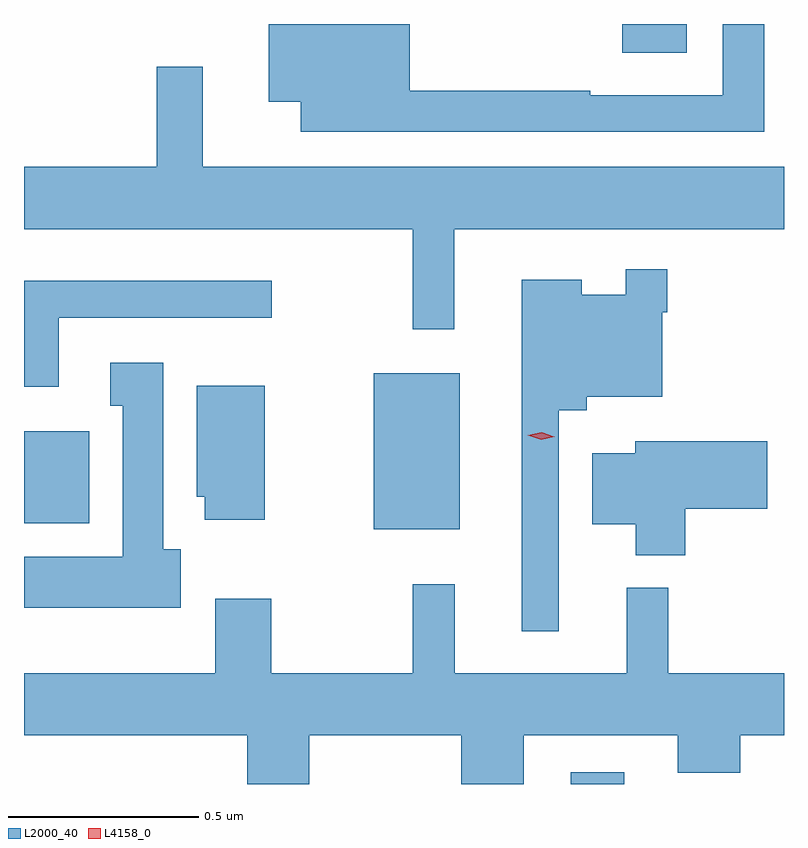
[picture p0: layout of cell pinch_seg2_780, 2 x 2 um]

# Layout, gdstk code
import gdstk
lib = gdstk.Library(unit=1e-6, precision=1e-09)
def R(c, l, rs):  # rectangles x0, y0, x1, y1
    for r in rs: c.add(gdstk.rectangle(r[:2], r[2:], *l))
def P(c, l, *ps):  # polygons
    for p in ps: c.add(gdstk.Polygon(p, *l))
L2000_40 = (2000, 40)
L4158_0 = (4158, 0)

pinch_seg2_780 = lib.new_cell('pinch_seg2_780')
R(pinch_seg2_780, L2000_40, [(731.297,635.52,731.437,635.551), (730.778,636.191,731.005,636.601), (729.858,636.206,730.03,636.448), (731.432,637.445,731.602,637.52)])
P(pinch_seg2_780, L2000_40, [(731.806,637.52),(731.697,637.52),(731.697,637.332),(731.348,637.332),(731.348,637.345),(730.873,637.345),(730.873,637.52),(730.502,637.52),(730.502,637.316),(730.586,637.316),(730.586,637.236),(731.806,637.236)],
  [(730.99,636.98),(731.858,636.98),(731.858,637.144),(730.328,637.144),(730.328,637.408),(730.207,637.408),(730.207,637.144),(729.858,637.144),(729.858,636.98),(730.881,636.98),(730.881,636.717),(730.99,636.717)],
  [(731.265,636.503),(731.339,636.503),(731.339,636.539),(731.538,636.539),(731.538,636.761),(731.551,636.761),(731.551,636.874),(731.442,636.874),(731.442,636.808),(731.326,636.808),(731.326,636.847),(731.168,636.847),(731.168,635.922),(731.265,635.922)],
  [(729.949,636.747),(730.51,636.747),(730.51,636.844),(729.858,636.844),(729.858,636.566),(729.949,636.566)],
  [(730.27,636.138),(730.225,636.138),(730.225,636.628),(730.085,636.628),(730.085,636.515),(730.118,636.515),(730.118,636.118),(729.858,636.118),(729.858,635.984),(730.27,635.984)],
  [(730.492,636.568),(730.313,636.568),(730.313,636.276),(730.334,636.276),(730.334,636.216),(730.492,636.216)],
  [(731.598,636.244),(731.814,636.244),(731.814,636.422),(731.466,636.422),(731.466,636.391),(731.354,636.391),(731.354,636.203),(731.468,636.203),(731.468,636.122),(731.598,636.122)],
  [(730.609,635.648),(731.009,635.648),(731.009,635.52),(731.173,635.52),(731.173,635.648),(731.579,635.648),(731.579,635.549),(731.743,635.549),(731.743,635.648),(731.858,635.648),(731.858,635.812),(731.554,635.812),(731.554,636.037),(731.444,636.037),(731.444,635.812),(730.991,635.812),(730.991,636.046),(730.881,636.046),(730.881,635.812),(730.509,635.812),(730.509,636.007),(730.361,636.007),(730.361,635.812),(729.858,635.812),(729.858,635.648),(730.445,635.648),(730.445,635.52),(730.609,635.52)])
P(pinch_seg2_780, L4158_0, [(731.219,636.426),(731.184,636.438),(731.184,636.438),(731.184,636.438),(731.22,636.446),(731.254,636.434),(731.255,636.434),(731.254,636.434)])

lib.write_gds('pinch_seg2_780.gds')
